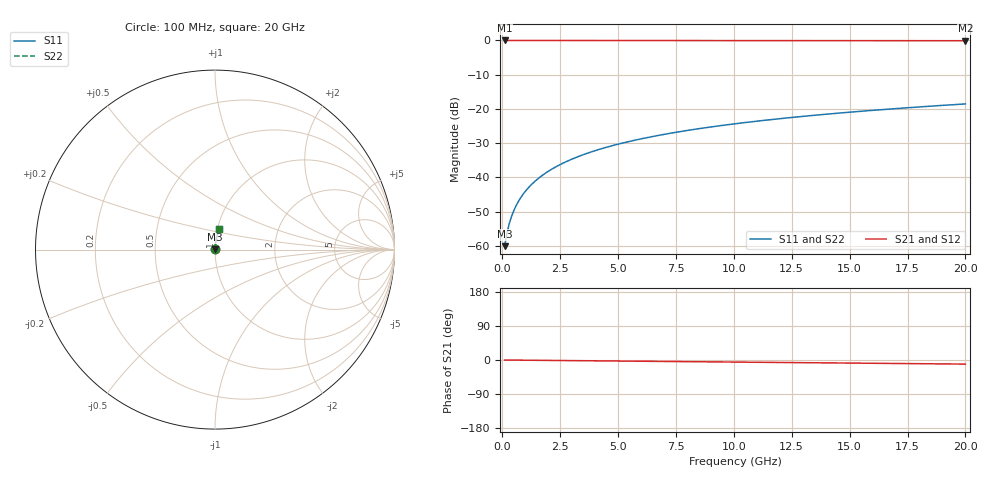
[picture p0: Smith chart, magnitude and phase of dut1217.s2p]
! Touchstone file exported from HFSS 2026.1.0
!  File:  C:/ffzhzh/LocalFiles/Ansys_Project_Files/temp_train_TMRDL_1217_1783163269_51560.aedt
!  Generated:  07:08:59 PM Jul  4, 2026
!  Design:  TMRDL
!  Project:  temp_train_TMRDL_1217_1783163269_51560
! Variables:
!  h_bsmrdl = 2um
!  h_ox = 20um
!  h_rdl = 5um
!  h_sub = 80um
!  h_tmrdl = 3.24um
!  h_tsv = 80um
!  h_via = 3um
!  l_bsmrdl = 300um
!  l_sub = 507.09um
!  l_tmrdl = 107.09um
!  m_sub = 200um
!  pitch = 54.72um
!  r_tsv = 6um
!  s_tmrdl = 10um
!  w_bsmrdl = 18um
!  w_sub = 500um
!  w_tmrdl = 25.27um
!  x_tsv_center1 = 119.725um
!  x_tsv_center2 = 437.725um
!  x_tsv_center3 = 570.085um
!  x_tsv_center4 = 888.085um
!  x_tsv_center5 = 1020.445um
!  x_tsv_center6 = 1338.445um
# GHz S MA R 50.000000
! Terminal data exported
! Port[1] = TM_RDL1_1_T1
! Port[2] = TM_RDL1_1_T2
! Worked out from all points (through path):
!   200 points, 100 MHz to 20 GHz, reference 50 ohm
!   highest |S21| = -0.01 dB at 100 MHz (marker M1); lowest = -0.1 dB at 20 GHz (marker M2)
!   group delay of S21, straight-line fit = 1.5 ps
!   lowest |S11| = -60.1 dB at 100 MHz (marker M3), VSWR 1.00, Z = 50.1 + j0.0663 ohm
!   |S11| at or under -10 dB: start of sweep to end of sweep
!   |S22| runs from -60.1 to -18.6 dB; largest |S21 - S12| = 6.5e-15
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0.1  0.0009867 42.2  0.9993 -0.1  0.9993 -0.1  0.0009867 42.2
! Gamma 0 0 0 0
! Port Impedance 50 0 50 0
0.2  0.001516 59.7  0.9992 -0.1  0.9992 -0.1  0.001516 59.7
0.3  0.002098 67.5  0.9992 -0.2  0.9992 -0.2  0.002098 67.5
0.4  0.002688 71.9  0.9992 -0.2  0.9992 -0.2  0.002688 71.9
0.5  0.003281 74.7  0.9991 -0.3  0.9991 -0.3  0.003281 74.7
0.6  0.003875 76.7  0.9991 -0.3  0.9991 -0.3  0.003875 76.7
0.8  0.005069 79.4  0.9991 -0.4  0.9991 -0.4  0.005069 79.4
1.1  0.006873 81.7  0.999 -0.6  0.999 -0.6  0.006873 81.7
1.5  0.009294 83.3  0.999 -0.8  0.999 -0.8  0.009294 83.3
1.8  0.01112 84.0  0.999 -1.0  0.999 -1.0  0.01112 84.0
2.1  0.01294 84.4  0.9989 -1.2  0.9989 -1.2  0.01294 84.4
2.7  0.01659 84.9  0.9988 -1.5  0.9988 -1.5  0.01659 84.9
3.5  0.02145 85.1  0.9986 -1.9  0.9986 -1.9  0.02145 85.1
4.2  0.02569 85.0  0.9985 -2.3  0.9985 -2.3  0.02569 85.0
5  0.03052 84.8  0.9982 -2.7  0.9982 -2.7  0.03052 84.8
5.9  0.03593 84.5  0.9979 -3.2  0.9979 -3.2  0.03593 84.5
6.8  0.04132 84.2  0.9976 -3.7  0.9976 -3.7  0.04132 84.2
8.3  0.05025 83.5  0.997 -4.5  0.997 -4.5  0.05025 83.5
10.1  0.06089 82.6  0.9962 -5.5  0.9962 -5.5  0.06089 82.6
13.4  0.0802 81.1  0.9944 -7.3  0.9944 -7.3  0.0802 81.1
16.7  0.09928 79.4  0.9924 -9.0  0.9924 -9.0  0.09928 79.4
20  0.1181 77.8  0.9901 -10.8  0.9901 -10.8  0.1181 77.8
